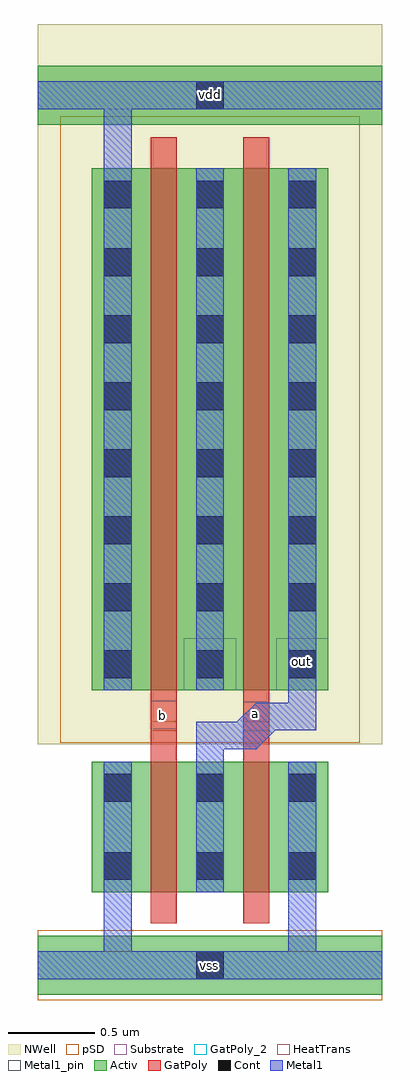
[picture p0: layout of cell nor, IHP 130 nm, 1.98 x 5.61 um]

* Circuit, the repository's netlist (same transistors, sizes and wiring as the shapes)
** sch_path: /home/mateo/GitRepos/IVAN-EAMTA2026/design/blocks/norgate/schematic/norgate.sch
**.subckt norgate vdd b_in a_in out vss
*.iopin a_in
*.iopin out
*.iopin vss
*.iopin vdd
*.iopin b_in
XM1 net1 b_in vdd vdd sg13_lv_pmos w=3.0u l=0.15u ng=1 m=1
XM2 out a_in vss vss sg13_lv_nmos w=0.75u l=0.15u ng=1 m=1
XM3 out b_in vss vss sg13_lv_nmos w=0.75u l=0.15u ng=1 m=1
XM4 out a_in net1 vdd sg13_lv_pmos w=3.0u l=0.15u ng=1 m=1
**.ends
.end

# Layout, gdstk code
import gdstk
lib = gdstk.Library(unit=1e-6, precision=5e-09)
def R(c, l, rs):  # rectangles x0, y0, x1, y1
    for r in rs: c.add(gdstk.rectangle(r[:2], r[2:], *l))
def A(c, l, x, y, w, h, nx, ny, dx, dy):  # array of equal rectangles
    R(c, l, [(x+i*dx, y+j*dy, x+i*dx+w, y+j*dy+h) for i in range(nx) for j in range(ny)])
def P(c, l, *ps):  # polygons
    for p in ps: c.add(gdstk.Polygon(p, *l))
Activ = (1, 0)
GatPoly = (5, 0)
GatPoly_2 = (5, 2)
Cont = (6, 0)
Metal1 = (8, 0)
Metal1_pin = (8, 2)
pSD = (14, 0)
NWell = (31, 0)
Substrate = (40, 0)
HeatTrans = (51, 0)

pmos_1 = lib.new_cell('pmos$1')
R(pmos_1, Activ, [(0,0,0.3,0.3), (0,0,0.83,3), (0.53,0,0.83,0.3)])
R(pmos_1, GatPoly, [(0.34,-0.18,0.49,3.18), (0.34,-0.18,0.49,3.18)])
A(pmos_1, Cont, 0.07, 0.07, 0.16, 0.16, 1, 7, 0, 0.385)
A(pmos_1, Cont, 0.6, 0.07, 0.16, 0.16, 1, 7, 0, 0.385)
R(pmos_1, Cont, [(0.07,2.77,0.23,2.93), (0.6,2.77,0.76,2.93)])
R(pmos_1, Metal1, [(0.07,0,0.23,3), (0.07,0,0.23,3), (0.6,0,0.76,3), (0.6,0,0.76,3)])
R(pmos_1, pSD, [(-0.18,-0.3,1.01,3.3)])
R(pmos_1, NWell, [(-0.31,-0.31,1.14,3.31)])
R(pmos_1, Substrate, [(0.53,0,0.83,0.3)])
R(pmos_1, HeatTrans, [(0.34,-0.18,0.49,3.18)])
pmos_1.add(gdstk.Label('pmos', (0.415,1.5), layer=63, texttype=0))
pmos_1.add(gdstk.Label('pmos', (0.415,1.5), layer=51, texttype=0))

nmos = lib.new_cell('nmos')
R(nmos, Activ, [(0,0,0.3,0.3), (0,0,0.83,0.75), (0.53,0,0.83,0.3)])
R(nmos, GatPoly, [(0.34,-0.18,0.49,0.93)])
R(nmos, GatPoly_2, [(0.34,-0.18,0.49,0.93)])
R(nmos, Cont, [(0.07,0.07,0.23,0.23), (0.6,0.07,0.76,0.23), (0.07,0.52,0.23,0.68), (0.6,0.52,0.76,0.68)])
R(nmos, Metal1, [(0.07,0,0.23,0.75), (0.6,0,0.76,0.75)])
R(nmos, Metal1_pin, [(0.07,0,0.23,0.75), (0.6,0,0.76,0.75)])
R(nmos, HeatTrans, [(0.34,-0.18,0.49,0.93)])
nmos.add(gdstk.Label('nmos', (0.415,0.375), layer=63, texttype=0))
nmos.add(gdstk.Label('nmos', (0.415,0.375), layer=51, texttype=0))

m1_cont1_pmos = lib.new_cell('M1_Cont1_PMOS')
R(m1_cont1_pmos, Activ, [(-0.985,-0.175,0.995,0.165)])
R(m1_cont1_pmos, Cont, [(-0.075,-0.085,0.085,0.075)])
R(m1_cont1_pmos, Metal1, [(-0.985,-0.085,0.995,0.075)])
R(m1_cont1_pmos, Metal1_pin, [(-0.985,-0.085,0.995,0.075)])
R(m1_cont1_pmos, NWell, [(-0.985,-0.415,0.995,0.405)])

m1_bulkcont1_pmos = lib.new_cell('M1_BulkCont1_PMOS')
r = gdstk.Reference(m1_cont1_pmos, (-0.015,-0.015)); r.repetition = gdstk.Repetition(1, 1, v1=(0,0), v2=(0,0)); m1_bulkcont1_pmos.add(r)

m1_cont1_nmos = lib.new_cell('M1_Cont1_NMOS')
R(m1_cont1_nmos, Activ, [(-0.98,-0.175,1,0.165)])
R(m1_cont1_nmos, Cont, [(-0.07,-0.085,0.09,0.075)])
R(m1_cont1_nmos, Metal1, [(-0.98,-0.085,1,0.075)])
R(m1_cont1_nmos, Metal1_pin, [(-0.98,-0.085,1,0.075)])
R(m1_cont1_nmos, pSD, [(-0.98,-0.205,1,0.195)])

m1_bulkcont1_nmos = lib.new_cell('M1_BulkCont1_NMOS')
r = gdstk.Reference(m1_cont1_nmos, (0.005,0.01)); r.repetition = gdstk.Repetition(1, 1, v1=(0,0), v2=(0,0)); m1_bulkcont1_nmos.add(r)

nor = lib.new_cell('nor')
R(nor, GatPoly, [(0.19,-2.075,0.34,-1.165), (-0.34,-2.07,-0.19,-1.165)])
R(nor, GatPoly_2, [(0.19,-1.255,0.34,-1.09), (-0.34,-1.25,-0.19,-1.085)])
R(nor, Cont, [(-0.08,2.315,0.08,2.475)])
R(nor, Metal1, [(-0.08,-1.505,0.08,-1.205), (-0.08,-1.365,0.265,-1.205), (0.105,-1.365,0.265,-1.205), (0.265,-1.255,0.61,-1.095), (0.265,-1.255,0.425,-1.095), (0.45,-1.255,0.61,-0.955), (-0.61,1.515,-0.45,2.475)])
P(nor, Metal1, [(0.155,-1.205),(0.265,-1.095),(0.39,-1.095),(0.39,-1.205)],
  [(0.14,-1.365),(0.14,-1.255),(0.375,-1.255),(0.265,-1.365)])
R(nor, Metal1_pin, [(0.45,-0.955,0.61,-0.795)])
nor.add(gdstk.FlexPath([(-0.53,-2.035),(-0.53,-2.605),(0.53,-2.605),(0.53,-2.04)], 0.16, ends="flush", simple_path=True, layer=8, datatype=0))  # Metal1
nor.add(gdstk.Reference(pmos_1, (-0.68,-1.025)))
nor.add(gdstk.Reference(pmos_1, (-0.15,-1.025)))
nor.add(gdstk.Reference(nmos, (-0.68,-2.185)))
nor.add(gdstk.Reference(nmos, (-0.15,-2.185)))
nor.add(gdstk.Reference(m1_bulkcont1_pmos, (0.01,2.415)))
nor.add(gdstk.Reference(m1_bulkcont1_nmos, (-0.015,-2.61)))
nor.add(gdstk.Label('vdd', (0,2.4), layer=8, texttype=2))
nor.add(gdstk.Label('vss', (-0.005,-2.605), layer=8, texttype=2))
nor.add(gdstk.Label('out', (0.525,-0.86), layer=8, texttype=2))
nor.add(gdstk.Label('a', (0.26,-1.16), layer=5, texttype=2))
nor.add(gdstk.Label('b', (-0.275,-1.17), layer=5, texttype=2))

lib.write_gds('nor.gds')
